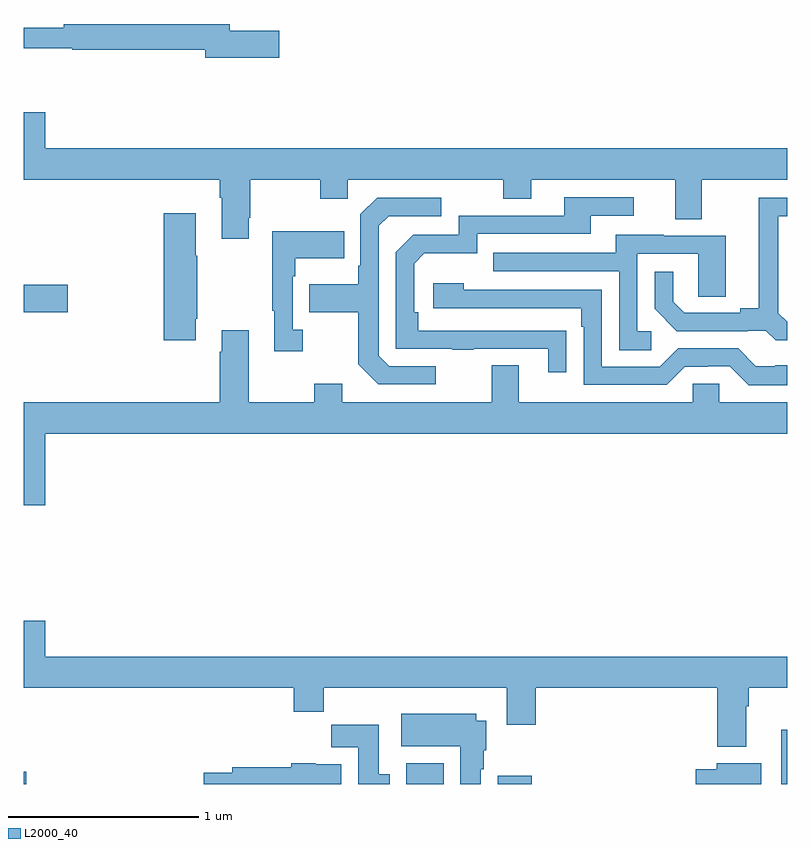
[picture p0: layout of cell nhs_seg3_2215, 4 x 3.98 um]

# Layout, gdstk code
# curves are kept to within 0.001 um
import gdstk
lib = gdstk.Library(unit=1e-6, precision=1e-09)
def R(c, l, rs):  # rectangles x0, y0, x1, y1
    for r in rs: c.add(gdstk.rectangle(r[:2], r[2:], *l))
def P(c, l, *ps):  # polygons
    for p in ps: c.add(gdstk.Polygon(p, *l))
L2000_40 = (2000, 40)

nhs_seg3_2215 = lib.new_cell('nhs_seg3_2215')
R(nhs_seg3_2215, L2000_40, [(225,712.4,225.011,712.465), (227.003,712.4,227.2,712.51), (227.483,712.4,227.662,712.444), (228.971,712.4,229,712.684), (225,714.874,225.229,715.016)])
P(nhs_seg3_2215, L2000_40, [(226.339,716.348),(226.078,716.348),(226.078,716.384),(225.208,716.384),(225.208,716.365),(225,716.365),(225,716.256),(225.252,716.256),(225.252,716.248),(225.95,716.248),(225.95,716.206),(226.339,716.206)],
  [(226.177,715.369),(226.185,715.369),(226.185,715.568),(226.552,715.568),(226.552,715.469),(226.698,715.469),(226.698,715.568),(227.512,715.568),(227.512,715.469),(227.659,715.469),(227.659,715.568),(228.413,715.568),(228.413,715.36),(228.553,715.36),(228.553,715.568),(229,715.568),(229,715.732),(225.112,715.732),(225.112,715.921),(225,715.921),(225,715.568),(226.025,715.568),(226.025,715.472),(226.037,715.472),(226.037,715.257),(226.177,715.257)],
  [(227.843,714.776),(227.066,714.777),(227.066,714.874),(227.046,714.874),(227.046,715.128),(227.099,715.181),(227.376,715.181),(227.376,715.284),(227.971,715.284),(227.971,715.38),(228.196,715.38),(228.196,715.476),(227.831,715.476),(227.831,715.38),(227.28,715.38),(227.28,715.278),(227.04,715.278),(226.95,715.188),(226.95,714.681),(227.245,714.681),(227.245,714.676),(227.357,714.676),(227.357,714.681),(227.747,714.681),(227.747,714.558),(227.843,714.558)],
  [(227.158,714.591),(226.914,714.591),(226.86,714.645),(226.86,715.326),(226.911,715.377),(227.188,715.377),(227.188,715.473),(226.851,715.473),(226.764,715.386),(226.764,715.117),(226.752,715.117),(226.752,715.021),(226.495,715.021),(226.495,714.874),(226.752,714.874),(226.752,714.601),(226.857,714.495),(227.158,714.495)],
  [(229,714.824),(228.955,714.869),(228.955,715.377),(229,715.377),(229,715.473),(228.851,715.473),(228.851,714.893),(228.755,714.893),(228.755,714.87),(228.46,714.87),(228.403,714.927),(228.403,715.084),(228.306,715.084),(228.306,714.89),(228.422,714.774),(228.794,714.774),(228.794,714.777),(228.888,714.777),(228.94,714.725),(229,714.725)],
  [(225.901,714.838),(225.909,714.838),(225.909,715.169),(225.901,715.169),(225.901,715.393),(225.734,715.393),(225.734,714.726),(225.901,714.726)],
  [(226.462,714.782),(226.41,714.782),(226.41,715.061),(226.423,715.061),(226.423,715.157),(226.679,715.157),(226.679,715.297),(226.302,715.297),(226.302,714.881),(226.313,714.881),(226.313,714.669),(226.462,714.669)],
  [(228.289,714.774),(228.216,714.774),(228.216,715.179),(228.534,715.179),(228.534,714.955),(228.679,714.955),(228.679,715.275),(228.355,715.275),(228.355,715.279),(228.101,715.279),(228.101,715.185),(227.461,715.185),(227.461,715.089),(228.12,715.089),(228.12,714.673),(228.289,714.673)],
  [(229,714.595),(228.937,714.595),(228.937,714.591),(228.837,714.591),(228.744,714.684),(228.429,714.684),(228.333,714.588),(228.03,714.588),(228.03,714.99),(227.306,714.99),(227.306,715.024),(227.145,715.024),(227.145,714.894),(227.921,714.894),(227.921,714.797),(227.934,714.797),(227.934,714.492),(228.369,714.492),(228.465,714.588),(228.584,714.588),(228.584,714.591),(228.699,714.591),(228.799,714.491),(229,714.491)],
  [(225.112,714.236),(229,714.236),(229,714.4),(228.645,714.4),(228.645,714.498),(228.507,714.498),(228.507,714.4),(227.593,714.4),(227.593,714.595),(227.453,714.595),(227.453,714.4),(226.669,714.4),(226.669,714.499),(226.522,714.499),(226.522,714.4),(226.177,714.4),(226.177,714.778),(226.037,714.778),(226.037,714.665),(226.025,714.665),(226.025,714.4),(225,714.4),(225,713.862),(225.112,713.862)],
  [(228.787,712.808),(228.8,712.808),(228.8,712.904),(229,712.904),(229,713.068),(225.112,713.068),(225.112,713.257),(225,713.257),(225,712.904),(226.415,712.904),(226.415,712.78),(226.571,712.78),(226.571,712.904),(227.531,712.904),(227.531,712.71),(227.684,712.71),(227.684,712.904),(228.635,712.904),(228.635,712.595),(228.787,712.595)],
  [(227.395,712.478),(227.41,712.478),(227.41,712.578),(227.422,712.578),(227.422,712.732),(227.371,712.732),(227.371,712.768),(226.979,712.768),(226.979,712.598),(227.288,712.598),(227.288,712.4),(227.395,712.4)],
  [(226.918,712.452),(226.861,712.452),(226.861,712.71),(226.612,712.71),(226.612,712.592),(226.751,712.592),(226.751,712.4),(226.918,712.4)],
  [(226.663,712.504),(226.53,712.504),(226.53,712.51),(226.4,712.51),(226.4,712.488),(226.091,712.488),(226.091,712.458),(225.942,712.458),(225.942,712.4),(226.663,712.4)],
  [(228.865,712.51),(228.632,712.51),(228.632,712.477),(228.521,712.477),(228.521,712.4),(228.865,712.4)])

lib.write_gds('nhs_seg3_2215.gds')
